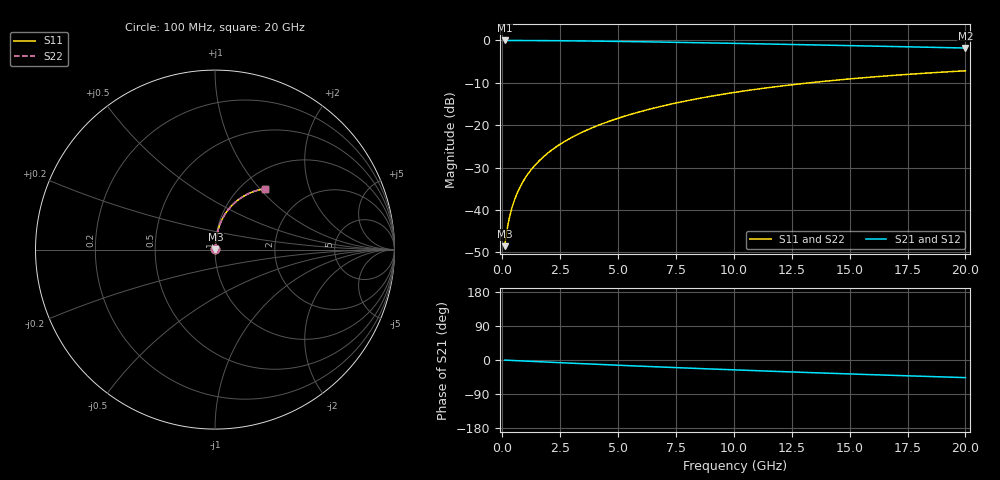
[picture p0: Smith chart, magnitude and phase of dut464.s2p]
! Touchstone file exported from HFSS 2024.1.0
!  File:  C:/UserFiles/LocalFiles/RDL_TSV_Batchsim/temp_RDL_top_464_1779677679.aedt
!  Generated:  10:57:05 AM May 25, 2026
!  Design:  RDL_top
!  Project:  temp_RDL_top_464_1779677679
!  Setup:  Setup1
!  Solution:  Sweep
! Variables:
!  dtsv = 10.80580581um
!  hbump = 3um
!  htsv = 90.98um
!  ldown = 100um
!  lrdl = 625.19um
!  p = 40
!  p1 = 59.07um
!  rhole = 1um
!  t = 450um
!  tdown = 3.915915916um
!  trdl = 4.08um
!  wdown = 15.38538539um
!  wrdl = 20.94um
# GHz S MA R 50.000000
! Terminal data exported
! Port[1] = Box2_T1
! Port[2] = Box2_T2
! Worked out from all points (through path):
!   200 points, 100 MHz to 20 GHz, reference 50 ohm
!   highest |S21| = -0.02 dB at 100 MHz (marker M1); lowest = -1.8 dB at 20 GHz (marker M2)
!   group delay of S21, straight-line fit = 6.42 ps
!   lowest |S11| = -48.5 dB at 100 MHz (marker M3), VSWR 1.01, Z = 50.3 + j0.255 ohm
!   |S11| at or under -10 dB: start of sweep to 13.29 GHz
!   |S22| runs from -48.5 to -7.2 dB; largest |S21 - S12| = 7.1e-15
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0.1  0.003745 42.6  0.9972 -0.3  0.9972 -0.3  0.003745 42.6
! Gamma 0 0 0 0
! Port Impedance 50 0 50 0
0.2  0.005777 59.9  0.9971 -0.6  0.9971 -0.6  0.005777 59.9
0.3  0.007991 67.6  0.9969 -0.9  0.9969 -0.9  0.007991 67.6
0.4  0.01024 71.9  0.9967 -1.2  0.9967 -1.2  0.01024 71.9
0.5  0.01251 74.7  0.9966 -1.4  0.9966 -1.4  0.01252 74.7
0.6  0.0148 76.7  0.9964 -1.7  0.9964 -1.7  0.0148 76.7
0.8  0.01941 79.3  0.996 -2.3  0.996 -2.3  0.01941 79.3
1.1  0.02641 81.3  0.9953 -3.2  0.9953 -3.2  0.02641 81.3
1.5  0.03582 82.6  0.9941 -4.3  0.9941 -4.3  0.03582 82.6
1.8  0.04292 83.0  0.993 -5.1  0.993 -5.1  0.04292 83.0
2.1  0.05006 83.2  0.9917 -6.0  0.9917 -6.0  0.05006 83.2
2.7  0.06444 83.1  0.9887 -7.6  0.9887 -7.6  0.06444 83.1
3.5  0.08381 82.5  0.9836 -9.8  0.9836 -9.8  0.08381 82.5
4.2  0.1009 81.7  0.9785 -11.7  0.9785 -11.7  0.1009 81.7
5  0.1206 80.6  0.972 -13.8  0.972 -13.8  0.1206 80.5
5.9  0.1429 79.1  0.9639 -16.1  0.9639 -16.1  0.1429 79.1
6.8  0.1652 77.4  0.9553 -18.4  0.9553 -18.4  0.1652 77.4
8.4  0.2045 74.3  0.9391 -22.3  0.9391 -22.3  0.2045 74.3
10.1  0.2452 70.7  0.921 -26.2  0.921 -26.2  0.2451 70.7
13.4  0.3186 63.7  0.8846 -33.5  0.8846 -33.5  0.3185 63.7
16.7  0.3829 57.0  0.848 -40.2  0.848 -40.2  0.3828 57.0
20  0.4376 50.7  0.8123 -46.5  0.8123 -46.5  0.4375 50.7
